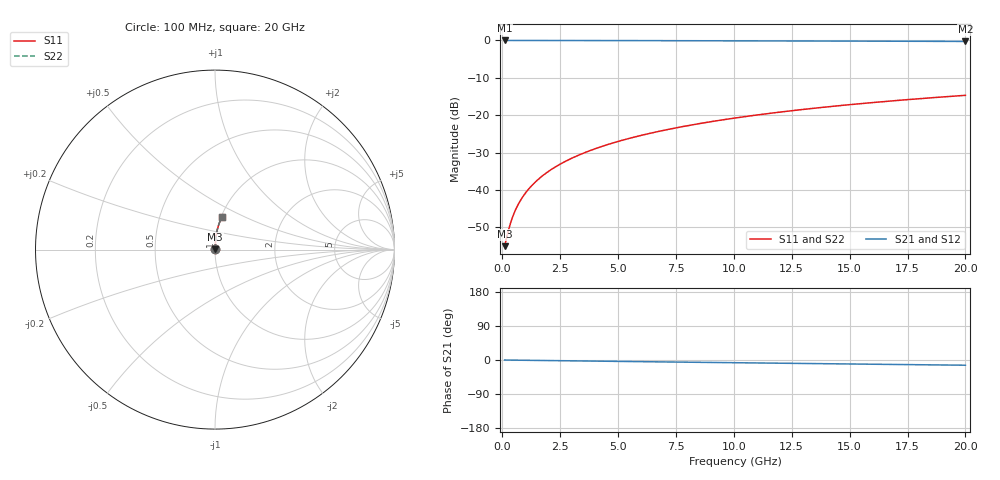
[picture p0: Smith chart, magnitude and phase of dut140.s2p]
! Touchstone file exported from HFSS 2024.1.0
!  File:  C:/UserFiles/LocalFiles/RDL_TSV_Batchsim/temp_RDL_top_140_1778684734.aedt
!  Generated:  11:07:52 PM May 13, 2026
!  Design:  RDL_top
!  Project:  temp_RDL_top_140_1778684734
!  Setup:  Setup1
!  Solution:  Sweep
! Variables:
!  dtsv = 10.80580581um
!  hbump = 3um
!  htsv = 86.46um
!  ldown = 100um
!  lrdl = 123.69um
!  p = 40
!  p1 = 54.77um
!  rhole = 1um
!  t = 450um
!  tdown = 3.915915916um
!  trdl = 2.23um
!  wdown = 15.38538539um
!  wrdl = 16.93um
# GHz S MA R 50.000000
! Terminal data exported
! Port[1] = Box2_T1
! Port[2] = Box2_T2
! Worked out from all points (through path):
!   200 points, 100 MHz to 20 GHz, reference 50 ohm
!   highest |S21| = -0.01 dB at 100 MHz (marker M1); lowest = -0.3 dB at 20 GHz (marker M2)
!   group delay of S21, straight-line fit = 1.9 ps
!   lowest |S11| = -55.1 dB at 100 MHz (marker M3), VSWR 1.00, Z = 50.2 + j0.0921 ohm
!   |S11| at or under -10 dB: start of sweep to end of sweep
!   |S22| runs from -55.1 to -14.7 dB; largest |S21 - S12| = 2e-15
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0.1  0.001766 31.3  0.9985 -0.1  0.9985 -0.1  0.001766 31.3
! Gamma 0 0 0 0
! Port Impedance 50 0 50 0
0.2  0.002384 50.2  0.9985 -0.2  0.9985 -0.2  0.002384 50.2
0.3  0.003147 60.5  0.9984 -0.2  0.9984 -0.2  0.003147 60.5
0.4  0.003965 66.5  0.9984 -0.3  0.9984 -0.3  0.003965 66.5
0.5  0.004805 70.4  0.9984 -0.4  0.9984 -0.4  0.004805 70.4
0.6  0.005654 73.1  0.9983 -0.5  0.9983 -0.5  0.005654 73.1
0.8  0.007362 76.6  0.9982 -0.6  0.9982 -0.6  0.007362 76.6
1.1  0.009934 79.7  0.9981 -0.8  0.9981 -0.8  0.009934 79.7
1.5  0.01338 82.1  0.9979 -1.1  0.9979 -1.1  0.01338 82.1
1.8  0.01598 83.2  0.9977 -1.4  0.9977 -1.4  0.01598 83.2
2.1  0.0186 84.0  0.9975 -1.6  0.9975 -1.6  0.0186 84.0
2.7  0.02387 85.1  0.9971 -2.0  0.9971 -2.0  0.02387 85.1
3.5  0.03097 85.9  0.9964 -2.6  0.9964 -2.6  0.03097 85.9
4.2  0.03724 86.2  0.9957 -3.1  0.9957 -3.1  0.03724 86.2
5  0.04449 86.4  0.9948 -3.7  0.9948 -3.7  0.04449 86.4
5.9  0.05273 86.4  0.9937 -4.3  0.9937 -4.3  0.05273 86.4
6.8  0.06106 86.2  0.9924 -5.0  0.9924 -5.0  0.06106 86.2
8.3  0.07507 85.6  0.9902 -6.0  0.9902 -6.0  0.07507 85.6
10.1  0.09202 84.7  0.9874 -7.2  0.9874 -7.2  0.09202 84.7
13.4  0.1231 82.7  0.9817 -9.5  0.9817 -9.5  0.1231 82.7
16.7  0.1539 80.4  0.9756 -11.6  0.9756 -11.6  0.1539 80.4
20  0.1842 78.2  0.969 -13.8  0.969 -13.8  0.1842 78.2
